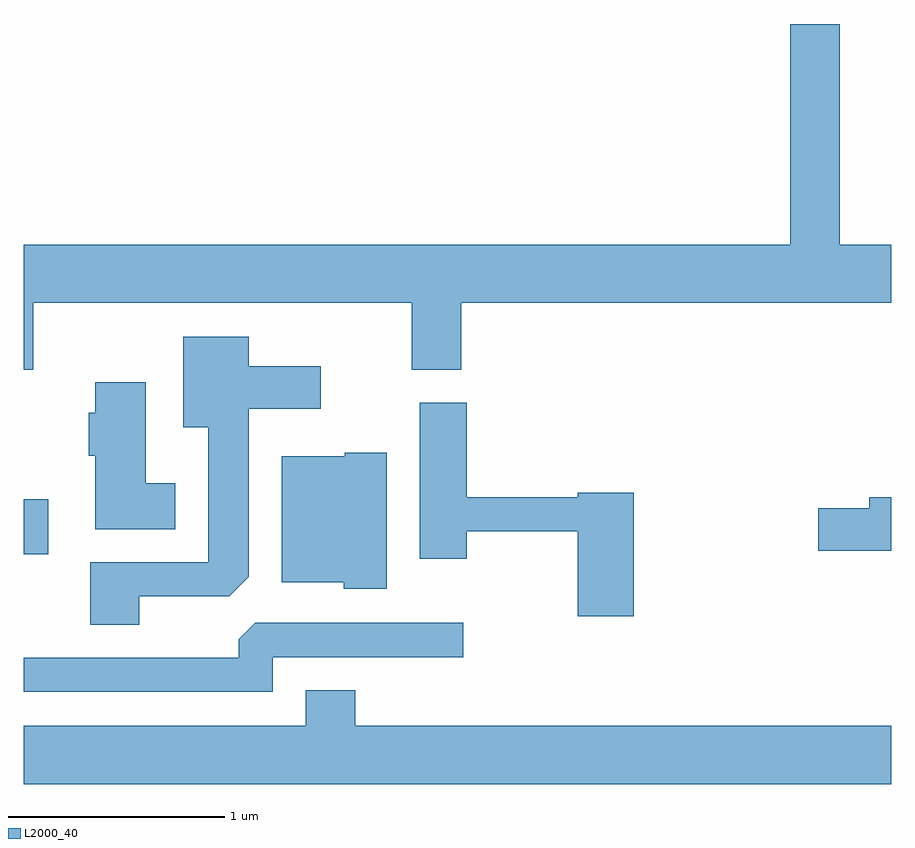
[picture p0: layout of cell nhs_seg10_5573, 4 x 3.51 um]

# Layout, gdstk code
import gdstk
lib = gdstk.Library(unit=1e-6, precision=1e-09)
def R(c, l, rs):  # rectangles x0, y0, x1, y1
    for r in rs: c.add(gdstk.rectangle(r[:2], r[2:], *l))
def P(c, l, *ps):  # polygons
    for p in ps: c.add(gdstk.Polygon(p, *l))
L2000_40 = (2000, 40)

nhs_seg10_5573 = lib.new_cell('nhs_seg10_5573')
R(nhs_seg10_5573, L2000_40, [(349.611,2126.076,349.724,2126.329)])
P(nhs_seg10_5573, L2000_40, [(349.654,2127.236),(351.401,2127.236),(351.401,2126.926),(351.629,2126.926),(351.629,2127.236),(353.611,2127.236),(353.611,2127.504),(353.374,2127.504),(353.374,2128.522),(353.146,2128.522),(353.146,2127.504),(349.611,2127.504),(349.611,2126.926),(349.654,2126.926)],
  [(350.144,2125.881),(350.559,2125.881),(350.649,2125.972),(350.649,2126.746),(350.979,2126.746),(350.979,2126.944),(350.649,2126.944),(350.649,2127.079),(350.346,2127.079),(350.346,2126.661),(350.461,2126.661),(350.461,2126.039),(349.916,2126.039),(349.916,2125.751),(350.144,2125.751)],
  [(350.309,2126.404),(350.174,2126.404),(350.174,2126.869),(349.941,2126.869),(349.941,2126.729),(349.911,2126.729),(349.911,2126.531),(349.941,2126.531),(349.941,2126.191),(350.309,2126.191)],
  [(352.424,2126.359),(352.166,2126.359),(352.166,2126.339),(351.654,2126.339),(351.654,2126.774),(351.436,2126.774),(351.436,2126.056),(351.654,2126.056),(351.654,2126.181),(352.166,2126.181),(352.166,2125.791),(352.424,2125.791)],
  [(351.284,2126.544),(351.09,2126.544),(351.09,2126.529),(350.801,2126.529),(350.801,2125.946),(351.086,2125.946),(351.086,2125.916),(351.284,2125.916)],
  [(353.611,2126.339),(353.511,2126.339),(353.511,2126.289),(353.276,2126.289),(353.276,2126.091),(353.611,2126.091)],
  [(350.759,2125.601),(351.638,2125.601),(351.638,2125.759),(350.677,2125.759),(350.601,2125.684),(350.601,2125.599),(349.611,2125.599),(349.611,2125.441),(350.759,2125.441)],
  [(353.611,2125.284),(351.139,2125.284),(351.139,2125.449),(350.911,2125.449),(350.911,2125.284),(349.611,2125.284),(349.611,2125.016),(353.611,2125.016)])

lib.write_gds('nhs_seg10_5573.gds')
